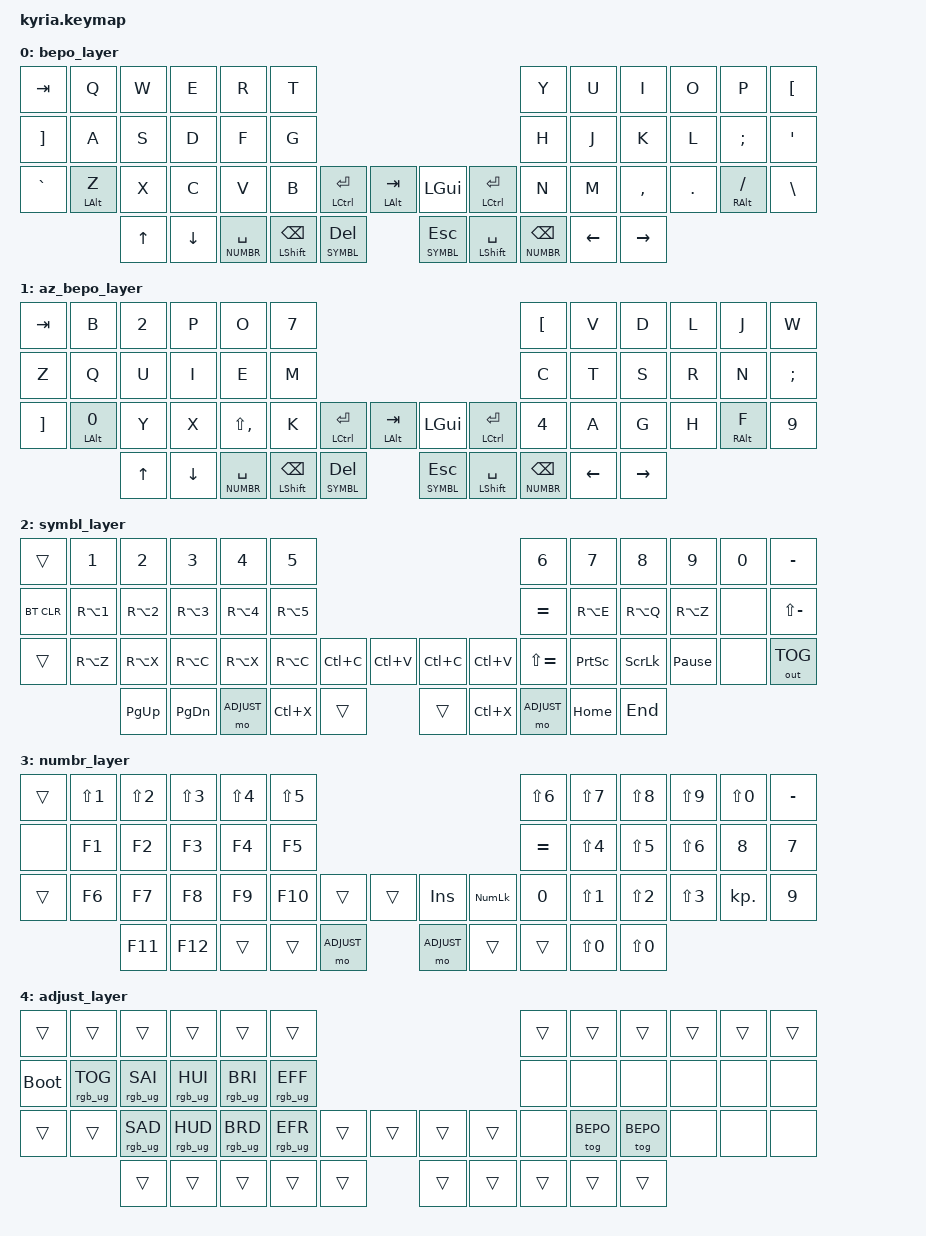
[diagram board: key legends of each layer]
/*
 * Copyright (c) 2020 The ZMK Contributors
 *
 * SPDX-License-Identifier: MIT
 */

#include <behaviors.dtsi>
#include <dt-bindings/zmk/keys.h>
#include <dt-bindings/zmk/rgb.h>
#include <dt-bindings/zmk/outputs.h>
#include <dt-bindings/zmk/bt.h>

#define BEPO    0
#define AZ_BEPO 1
#define SYMBL   2
#define NUMBR   3
#define ADJUST  4


/ {
	keymap {
		compatible = "zmk,keymap";

		bepo_layer { //BÉPO in fact with bépo selected keyboard in the OS
// ---------------------------------------------------------------------------------------------------------------------------------------
// |  TAB  |  Q  |  W  |  E   |  R   |  T   |                                               |  Y   |   U   |   I   |  O   |   P   | LBKT |
// |  RBKT |  A  |  S  |  D   |  F   |  G   |                                               |  H   |   J   |   K   |  L   |   ;   | APOS |
// | GRAVE |  Z  |  X  |  C   |  V   |  B   | ENT  | TAB |                     | LGUI | ENT |  N   |   M   |   ,   |  .   |   /   | BSLH |
//                     |  UP  | DOWN |  SPC | BSPC | DEL |                     | ESC  | SPC | BSPC |  LEFT | RIGHT |
			bindings = <
	&kp TAB   &kp Q      &kp W &kp E  &kp R    &kp T                                                                   &kp Y          &kp U    &kp I    &kp O    &kp P         &kp LBKT
	&kp RBKT  &kp A      &kp S &kp D  &kp F    &kp G                                                                   &kp H          &kp J    &kp K    &kp L    &kp SCLN      &kp APOS
	&kp GRAVE &mt LALT Z &kp X &kp C  &kp V    &kp B    &mt LCTRL ENTER &mt LALT TAB     &kp LGUI      &mt LCTRL ENTER &kp N          &kp M    &kp CMMA &kp DOT  &mt RALT FSLH &kp BSLH
	            		  &kp UP &kp DOWN &lt NUMBR SPC &mt LSHFT BSPC &lt SYMBL DEL     &lt SYMBL ESC &mt LSHFT SPC   &lt NUMBR BSPC &kp LEFT &kp RIGHT
			>;
		};
		az_bepo_layer { //BÉPO in fact with french azerty selected keyboard in the OS
// ---------------------------------------------------------------------------------------------------------------------------------------
// |  TAB  |  Q  |  W  |  E   |  R   |  T   |                                               |  Y   |   U   |   I   |  O   |   P   | LBKT |
// |  RBKT |  A  |  S  |  D   |  F   |  G   |                                               |  H   |   J   |   K   |  L   |   ;   | APOS |
// | GRAVE |  Z  |  X  |  C   |  V   |  B   | ENT  | TAB |                     | LGUI | ENT |  N   |   M   |   ,   |  .   |   /   | BSLH |
//                     |  UP  | DOWN |  SPC | BSPC | DEL |                     | ESC  | SPC | BSPC |  LEFT | RIGHT |
			bindings = <
	&kp TAB  &kp B       &kp N2 &kp P  &kp O        &kp N7                                                                       &kp LBKT       &kp V    &kp D     &kp L &kp J      &kp W
	&kp Z    &kp Q       &kp U  &kp I  &kp E        &kp M                                                                        &kp C          &kp T    &kp S     &kp R &kp N      &kp SEMI
	&kp RBKT &mt LALT N0 &kp Y  &kp X  &kp LS(CMMA) &kp K         &mt LCTRL ENTER &mt LALT TAB     &kp LGUI      &mt LCTRL ENTER &kp N4         &kp A    &kp G     &kp H &mt RALT F &kp N9
	            				&kp UP &kp DOWN     &lt NUMBR SPC &mt LSHFT BSPC  &lt SYMBL DEL    &lt SYMBL ESC &mt LSHFT SPC   &lt NUMBR BSPC &kp LEFT &kp RIGHT
			>;
		};
		symbl_layer {
// ---------------------------------------------------------------------------------------------------------------------------------------
// |  TAB  |  Q  |  W  |  E   |  R   |  T   |                                               |  Y   |   U   |   I   |  O   |   P   | LBKT |
// |  RBKT |  A  |  S  |  D   |  F   |  G   |                                               |  H   |   J   |   K   |  L   |   ;   | APOS |
// | GRAVE |  Z  |  X  |  C   |  V   |  B   | ENT  | TAB |                     | LGUI | ENT |  N   |   M   |   ,   |  .   |   /   | BSLH |
//                     |  UP  | DOWN |  SPC | BSPC | DEL |                     | ESC  | SPC | BSPC |  LEFT | RIGHT |
			bindings = <
	&trans     &kp N1    &kp N2    &kp N3    &kp N4    &kp N5                                                 &kp N6        &kp N7    &kp N8    &kp N9          &kp N0 &kp MINUS
	&bt BT_CLR &kp RA(1) &kp RA(2) &kp RA(3) &kp RA(4) &kp RA(5)                                              &kp EQUAL     &kp RA(E) &kp RA(Q) &kp RA(Z)       &none  &kp LS(MINUS)
	&trans     &kp RA(Z) &kp RA(X) &kp RA(C) &kp RA(X) &kp RA(C)  &kp LC(C) &kp LC(V)     &kp LC(C) &kp LC(V) &kp LS(EQUAL) &kp PSCRN &kp SLCK  &kp PAUSE_BREAK &none  &out OUT_TOG
	            				   &kp PG_UP &kp PG_DN &mo ADJUST &kp LC(X) &trans        &trans    &kp LC(X) &mo ADJUST    &kp HOME  &kp END
			>;
		};
		numbr_layer {
// ---------------------------------------------------------------------------------------------------------------------------------------
// |  TAB  |  Q  |  W  |  E   |  R   |  T   |                                               |  Y   |   U   |   I   |  O   |   P   | LBKT |
// |  RBKT |  A  |  S  |  D   |  F   |  G   |                                               |  H   |   J   |   K   |  L   |   ;   | APOS |
// | GRAVE |  Z  |  X  |  C   |  V   |  B   | ENT  | TAB |                     | LGUI | ENT |  N   |   M   |   ,   |  .   |   /   | BSLH |
//                     |  UP  | DOWN |  SPC | BSPC | DEL |                     | ESC  | SPC | BSPC |  LEFT | RIGHT |
			bindings = <
	&trans &kp LS(N1) &kp LS(N2) &kp LS(N3) &kp LS(N4) &kp LS(N5)                                         &kp LS(N6) &kp LS(N7) &kp LS(N8) &kp LS(N9) &kp LS(N0) &kp MINUS
	&none  &kp F1     &kp F2     &kp F3     &kp F4     &kp F5                                             &kp EQUAL  &kp LS(N4) &kp LS(N5) &kp LS(N6) &kp N8     &kp N7
	&trans &kp F6     &kp F7     &kp F8     &kp F9     &kp F10 &trans &trans        &kp INS    &kp KP_NUM &kp N0     &kp LS(N1) &kp LS(N2) &kp LS(N3) &kp KP_DOT &kp N9
	            				 &kp F11    &kp F12    &trans  &trans &mo ADJUST    &mo ADJUST &trans     &trans     &kp LS(N0) &kp LS(N0)
			>;
		};
		adjust_layer {
// ---------------------------------------------------------------------------------------------------------------------------------------
// |  TAB  |  Q  |  W  |  E   |  R   |  T   |                                               |  Y   |   U   |   I   |  O   |   P   | LBKT |
// |  RBKT |  A  |  S  |  D   |  F   |  G   |                                               |  H   |   J   |   K   |  L   |   ;   | APOS |
// | GRAVE |  Z  |  X  |  C   |  V   |  B   | ENT  | TAB |                     | LGUI | ENT |  N   |   M   |   ,   |  .   |   /   | BSLH |
//                     |  UP  | DOWN |  SPC | BSPC | DEL |                     | ESC  | SPC | BSPC |  LEFT | RIGHT |
			bindings = <
	&trans      &trans          &trans          &trans          &trans          &trans                                           &trans &trans    &trans    &trans &trans &trans
	&bootloader &rgb_ug RGB_TOG &rgb_ug RGB_SAI &rgb_ug RGB_HUI &rgb_ug RGB_BRI &rgb_ug RGB_EFF                                  &none  &none     &none     &none  &none  &none
	&trans      &trans          &rgb_ug RGB_SAD &rgb_ug RGB_HUD &rgb_ug RGB_BRD &rgb_ug RGB_EFR &trans &trans      &trans &trans &none  &tog BEPO &tog BEPO &none  &none  &none
										        &trans          &trans          &trans          &trans &trans      &trans &trans &trans &trans    &trans
			>;
		};
	};
};
